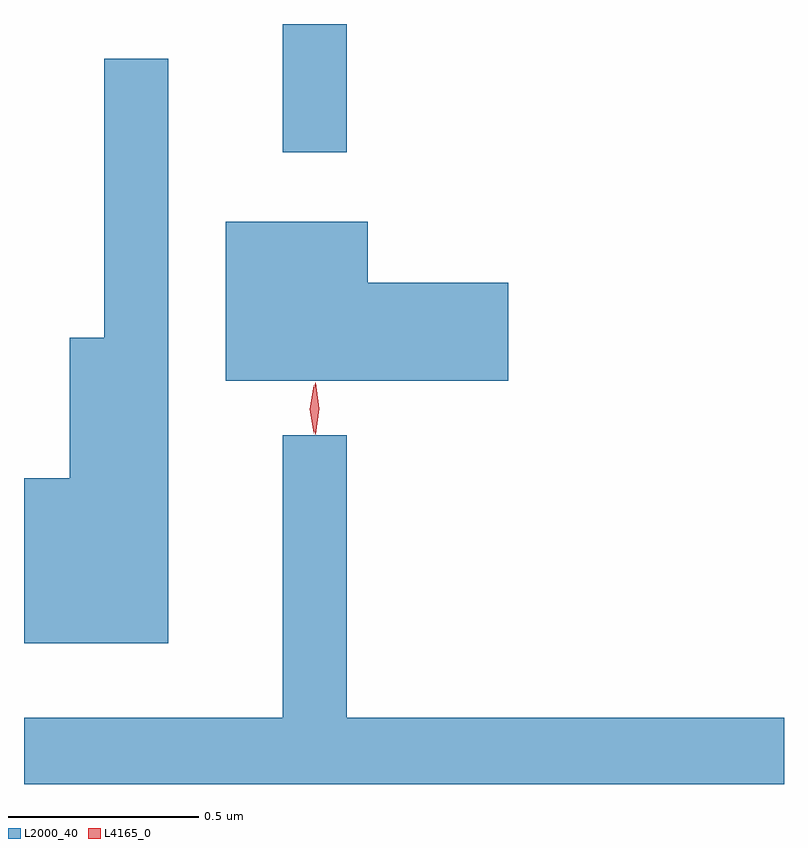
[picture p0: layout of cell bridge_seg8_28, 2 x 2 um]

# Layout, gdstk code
import gdstk
lib = gdstk.Library(unit=1e-6, precision=1e-09)
def R(c, l, rs):  # rectangles x0, y0, x1, y1
    for r in rs: c.add(gdstk.rectangle(r[:2], r[2:], *l))
def P(c, l, *ps):  # polygons
    for p in ps: c.add(gdstk.Polygon(p, *l))
L2000_40 = (2000, 40)
L4165_0 = (4165, 0)

bridge_seg8_28 = lib.new_cell('bridge_seg8_28')
R(bridge_seg8_28, L2000_40, [(1742.631,1889.233,1742.799,1889.57)])
P(bridge_seg8_28, L2000_40, [(1742.329,1889.478),(1742.161,1889.478),(1742.161,1888.744),(1742.071,1888.744),(1742.071,1888.374),(1741.95,1888.374),(1741.95,1887.941),(1742.329,1887.941)],
  [(1743.224,1888.889),(1742.854,1888.889),(1742.854,1889.049),(1742.481,1889.049),(1742.481,1888.631),(1743.224,1888.631)],
  [(1743.95,1887.744),(1742.799,1887.744),(1742.799,1888.488),(1742.631,1888.488),(1742.631,1887.744),(1741.95,1887.744),(1741.95,1887.57),(1743.95,1887.57)])
P(bridge_seg8_28, L4165_0, [(1742.717,1888.49),(1742.717,1888.49),(1742.707,1888.558),(1742.717,1888.626),(1742.717,1888.626),(1742.718,1888.626),(1742.727,1888.558),(1742.718,1888.49)],
  [(1742.712,1888.493),(1742.702,1888.556),(1742.712,1888.619),(1742.712,1888.62),(1742.713,1888.619),(1742.722,1888.556),(1742.713,1888.493),(1742.713,1888.493)])

lib.write_gds('bridge_seg8_28.gds')
